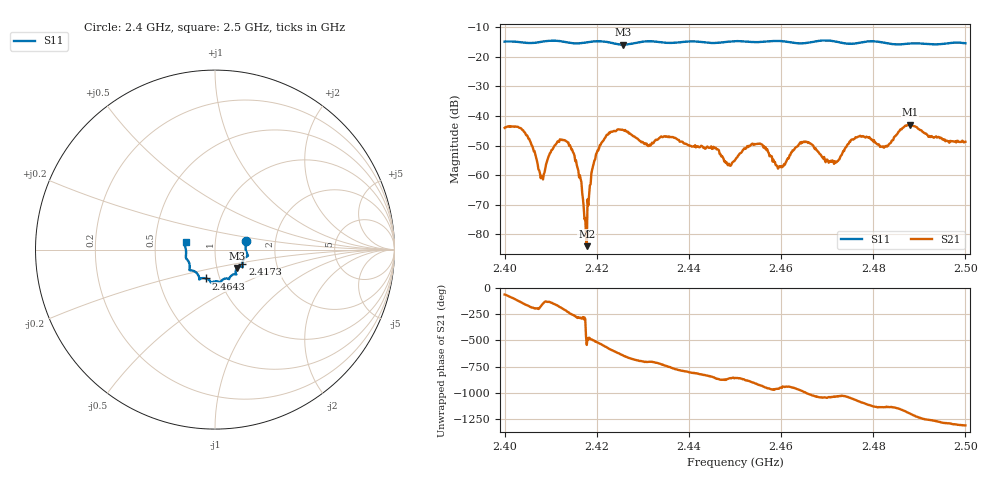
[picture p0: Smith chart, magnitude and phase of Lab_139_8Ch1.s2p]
# Hz S RI R 50
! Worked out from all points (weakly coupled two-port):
!   601 points, 2.4 GHz to 2.5 GHz, reference 50 ohm
!   highest |S21| = -42.90 dB at 2.488 GHz (marker M1); lowest = -84.0 dB at 2.4178 GHz (marker M2)
!   lowest |S11| = -15.9 dB at 2.4257 GHz (marker M3), VSWR 1.38, Z = 62.5 - j13.1 ohm
!   |S11| at or under -10 dB: start of sweep to end of sweep
!   S12 and S22 are empty: the file has one direction only
!   S11 on the Smith chart (normalised r, x): 2.4 GHz: 1.41, +0.14; 2.4173 GHz: 1.34, -0.22; 2.4643 GHz: 0.86, -0.28; 2.5 GHz: 0.72, +0.06
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2.4e9  0.1732 0.0496  0.00302 -0.00552  0 0  0 0
2.4045e9  0.1709 0.0196  -0.00471 -0.00193  0 0  0 0
2.408167e9  0.1784 -0.0219  -0.000845 -0.000382  0 0  0 0
2.410667e9  0.1837 -0.0342  -0.00259 -0.00148  0 0  0 0
2.413333e9  0.1712 -0.0423  -0.00306 0.00218  0 0  0 0
2.416667e9  0.1529 -0.0743  0.000282 0.000708  0 0  0 0
2.417333e9  0.1523 -0.0816  3.27e-05 0.000176  0 0  0 0
2.417833e9  0.1525 -0.0865  -6.29e-05 3.79e-06  0 0  0 0
2.419e9  0.1535 -0.0947  -0.000829 -0.000921  0 0  0 0
2.420333e9  0.1546 -0.0974  -0.00252 -0.000728  0 0  0 0
2.425667e9  0.1229 -0.1024  0.00129 0.00565  0 0  0 0
2.433333e9  0.1131 -0.1371  0.00404 8.97e-05  0 0  0 0
2.45e9  0.0296 -0.1809  -0.00136 -0.00117  0 0  0 0
2.455333e9  -0.000948 -0.1771  -0.00304 0.00154  0 0  0 0
2.459833e9  -0.0233 -0.1828  -0.000854 0.00106  0 0  0 0
2.464333e9  -0.0498 -0.1607  -0.000579 0.00338  0 0  0 0
2.466667e9  -0.0758 -0.1597  0.00188 0.0027  0 0  0 0
2.4715e9  -0.0874 -0.1604  0.00112 0.00107  0 0  0 0
2.476667e9  -0.1233 -0.1175  0.00444 -1.07e-06  0 0  0 0
2.483333e9  -0.1408 -0.0898  0.00177 -0.00274  0 0  0 0
2.488e9  -0.1595 -0.0508  -0.00358 -0.0062  0 0  0 0
2.5e9  -0.1637 0.0424  -0.00217 0.00294  0 0  0 0
